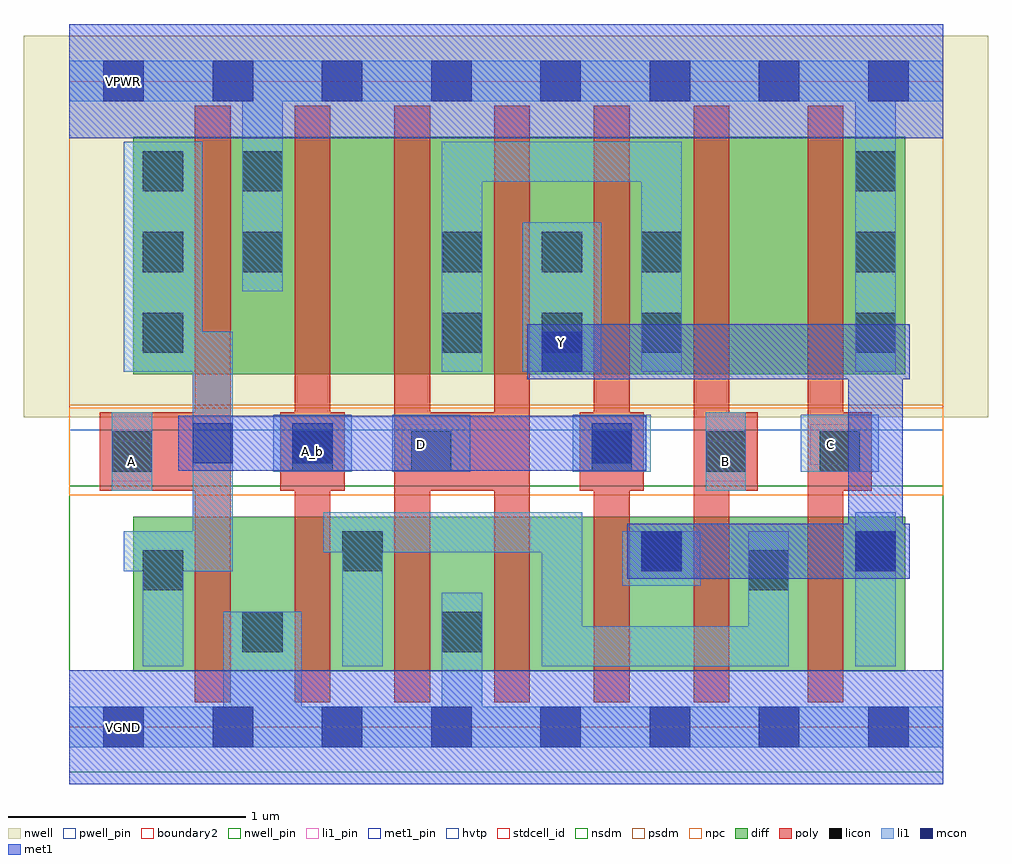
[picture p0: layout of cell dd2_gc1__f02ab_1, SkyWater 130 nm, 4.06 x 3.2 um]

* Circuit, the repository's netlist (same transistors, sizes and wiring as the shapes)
.subckt dd2_gc1__f02ab_1 A B C D VGND VNB VPB VPWR Y
X0 A_b A VGND VNB sky130_fd_pr__nfet_01v8 w=0.65 l=0.15
X1 A_b A VPWR VPB sky130_fd_pr__pfet_01v8_hvt w=1 l=0.15
X2 Y A_b n1 VNB sky130_fd_pr__nfet_01v8 w=0.65 l=0.15
X3 n1 D VGND VNB sky130_fd_pr__nfet_01v8 w=0.65 l=0.15
X4 Y B n2 VNB sky130_fd_pr__nfet_01v8 w=0.65 l=0.15
X5 Y C n2 VNB sky130_fd_pr__nfet_01v8 w=0.65 l=0.15
X6 n2 A_b VGND VNB sky130_fd_pr__nfet_01v8 w=0.65 l=0.15
X7 n2 D VGND VNB sky130_fd_pr__nfet_01v8 w=0.65 l=0.15
X8 Y A_b p1 VPB sky130_fd_pr__pfet_01v8_hvt w=1 l=0.15
X9 Y D p1 VPB sky130_fd_pr__pfet_01v8_hvt w=1 l=0.15
X10 p1 D p2 VPB sky130_fd_pr__pfet_01v8_hvt w=1 l=0.15
X11 p2 A_b VPWR VPB sky130_fd_pr__pfet_01v8_hvt w=1 l=0.15
X12 p1 B p3 VPB sky130_fd_pr__pfet_01v8_hvt w=1 l=0.15
X13 p3 C VPWR VPB sky130_fd_pr__pfet_01v8_hvt w=1 l=0.15
.ends

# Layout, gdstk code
import gdstk
lib = gdstk.Library(unit=1e-6, precision=1e-09)
def R(c, l, rs):  # rectangles x0, y0, x1, y1
    for r in rs: c.add(gdstk.rectangle(r[:2], r[2:], *l))
def A(c, l, x, y, w, h, nx, ny, dx, dy):  # array of equal rectangles
    R(c, l, [(x+i*dx, y+j*dy, x+i*dx+w, y+j*dy+h) for i in range(nx) for j in range(ny)])
nwell_pin = (64, 16)
nwell = (64, 20)
diff = (65, 20)
poly = (66, 20)
licon = (66, 44)
li1_pin = (67, 16)
li1 = (67, 20)
mcon = (67, 44)
met1_pin = (68, 16)
met1 = (68, 20)
hvtp = (78, 44)
stdcell_id = (81, 4)
nsdm = (93, 44)
psdm = (94, 20)
npc = (95, 20)
pwell_pin = (122, 16)
boundary2 = (236, 0)

dd2_gc1__f02ab_1 = lib.new_cell('dd2_gc1__f02ab_1')
R(dd2_gc1__f02ab_1, nwell_pin, [(0.145,2.635,0.315,2.805)])
R(dd2_gc1__f02ab_1, nwell, [(-0.19,1.305,3.87,2.91)])
R(dd2_gc1__f02ab_1, diff, [(0.27,0.235,3.52,0.885), (0.27,1.485,3.52,2.485)])
A(dd2_gc1__f02ab_1, poly, 0.53, 0.105, 0.15, 2.51, 6, 1, 0.42, 0)
A(dd2_gc1__f02ab_1, poly, 2.15, 0.995, 0.27, 0.33, 3, 1, 0.48, 0)
R(dd2_gc1__f02ab_1, poly, [(3.11,0.105,3.26,2.615), (0.13,0.995,0.68,1.325), (0.89,0.995,1.16,1.325), (1.37,0.995,1.94,1.325)])
A(dd2_gc1__f02ab_1, licon, 2.2, 1.075, 0.17, 0.17, 3, 1, 0.48, 0)
A(dd2_gc1__f02ab_1, licon, 0.31, 1.575, 0.17, 0.17, 1, 3, 0, 0.34)
A(dd2_gc1__f02ab_1, licon, 1.57, 1.575, 0.17, 0.17, 3, 2, 0.42, 0.34)
A(dd2_gc1__f02ab_1, licon, 3.31, 1.575, 0.17, 0.17, 1, 3, 0, 0.34)
R(dd2_gc1__f02ab_1, licon, [(0.73,0.315,0.9,0.485), (1.57,0.315,1.74,0.485), (0.31,0.575,0.48,0.745), (2.86,0.575,3.03,0.745), (1.15,0.655,1.32,0.825), (2.41,0.655,2.58,0.825), (3.31,0.655,3.48,0.825), (0.18,1.075,0.35,1.245), (0.94,1.075,1.11,1.245), (1.44,1.075,1.61,1.245), (0.73,1.915,0.9,2.085), (0.73,2.255,0.9,2.425)])
R(dd2_gc1__f02ab_1, li1_pin, [(0.18,1.035,0.35,1.205), (2.68,1.035,2.85,1.205), (1.4,1.105,1.57,1.275), (3.12,1.105,3.29,1.275), (1.99,1.535,2.16,1.705)])
R(dd2_gc1__f02ab_1, li1, [(0,-0.085,3.68,0.085), (0.65,-0.085,0.98,0.485), (1.57,-0.085,1.74,0.565), (0.31,0.255,0.48,0.825), (1.15,0.255,1.32,0.905), (1.99,0.255,2.16,0.905), (1.99,0.255,3.03,0.425), (2.86,0.255,3.03,0.825), (3.31,0.255,3.48,0.905), (2.33,0.595,2.66,0.825), (0.23,0.655,0.69,0.825), (1.07,0.735,2.16,0.905), (0.52,0.815,0.69,1.505), (0.18,0.995,0.35,1.325), (2.68,0.995,2.85,1.325), (0.86,1.075,1.19,1.315), (1.36,1.075,1.69,1.315), (2.12,1.075,2.45,1.315), (3.08,1.075,3.41,1.315), (0.23,1.495,0.69,1.665), (0.23,1.495,0.56,2.465), (1.57,1.495,1.74,2.465), (1.91,1.495,2.24,2.125), (2.41,1.495,2.58,2.465), (3.31,1.495,3.48,2.805), (0.73,1.835,0.9,2.805), (1.57,2.295,2.58,2.465), (0,2.635,3.68,2.805)])
A(dd2_gc1__f02ab_1, mcon, 0.145, -0.085, 0.17, 0.17, 8, 2, 0.46, 2.72)
R(dd2_gc1__f02ab_1, mcon, [(2.41,0.655,2.58,0.825), (3.31,0.655,3.48,0.825), (0.52,1.11,0.69,1.28), (0.94,1.11,1.11,1.28), (2.2,1.11,2.37,1.28), (1.99,1.495,2.16,1.665)])
R(dd2_gc1__f02ab_1, met1_pin, [(0.145,-0.085,0.315,0.085), (0.145,2.635,0.315,2.805)])
R(dd2_gc1__f02ab_1, met1, [(0,-0.24,3.68,0.24), (2.35,0.625,3.54,0.855), (3.28,0.625,3.51,1.695), (0.46,1.08,2.43,1.31), (1.93,1.465,3.54,1.695), (0,2.48,3.68,2.96)])
R(dd2_gc1__f02ab_1, hvtp, [(0,1.25,3.68,2.72)])
R(dd2_gc1__f02ab_1, stdcell_id, [(0,0,3.68,2.72)])
R(dd2_gc1__f02ab_1, nsdm, [(0,-0.19,3.68,1.015)])
R(dd2_gc1__f02ab_1, psdm, [(0,1.355,3.68,2.91)])
R(dd2_gc1__f02ab_1, npc, [(0,0.975,3.68,1.345)])
R(dd2_gc1__f02ab_1, pwell_pin, [(0.145,-0.085,0.315,0.085)])
R(dd2_gc1__f02ab_1, boundary2, [(0,0,3.68,2.72)])
dd2_gc1__f02ab_1.add(gdstk.Label('A_b', (1.025,1.16), layer=67, texttype=5))
dd2_gc1__f02ab_1.add(gdstk.Label('A', (0.265,1.12), layer=67, texttype=5))
dd2_gc1__f02ab_1.add(gdstk.Label('D', (1.485,1.19), layer=67, texttype=5))
dd2_gc1__f02ab_1.add(gdstk.Label('B', (2.765,1.12), layer=67, texttype=5))
dd2_gc1__f02ab_1.add(gdstk.Label('C', (3.205,1.19), layer=67, texttype=5))
dd2_gc1__f02ab_1.add(gdstk.Label('Y', (2.075,1.62), layer=67, texttype=5))
dd2_gc1__f02ab_1.add(gdstk.Label('VGND', (0.23,0), layer=68, texttype=5))
dd2_gc1__f02ab_1.add(gdstk.Label('VPWR', (0.23,2.72), layer=68, texttype=5))
dd2_gc1__f02ab_1.add(gdstk.Label('VPB', (0.23,2.72), layer=64, texttype=5))
dd2_gc1__f02ab_1.add(gdstk.Label('VNB', (0.23,0), layer=64, texttype=59))

lib.write_gds('dd2_gc1__f02ab_1.gds')
